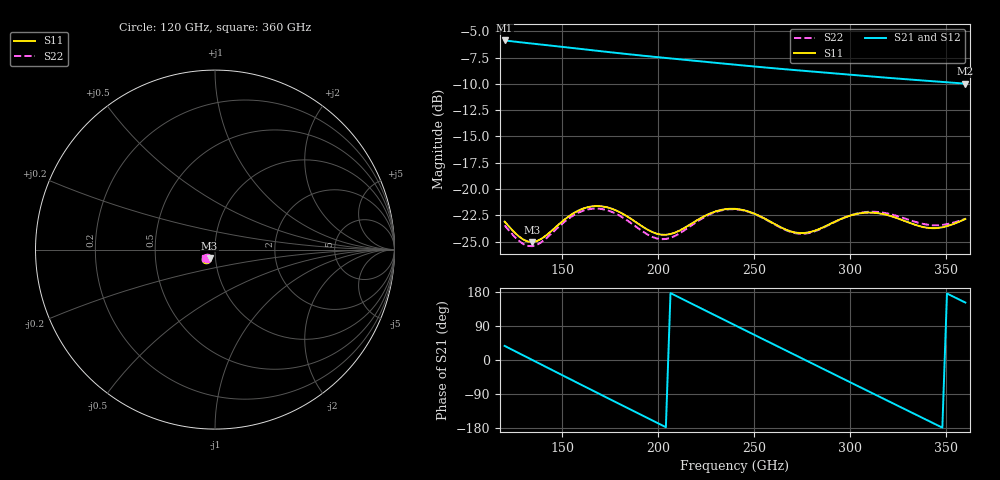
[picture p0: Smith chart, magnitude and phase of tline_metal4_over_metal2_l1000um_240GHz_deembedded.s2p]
! Created with skrf 2.2.0 (http://scikit-rf.org).
# GHz S DB R 50.0
! Port[1] = P1
! Port[2] = P2
!freq dBS11 angS11 dBS21 angS21 dBS12 angS12 dBS22 angS22
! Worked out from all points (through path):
!   101 points, 120 GHz to 360 GHz, reference 50 ohm
!   highest |S21| = -5.86 dB at 120 GHz (marker M1); lowest = -10.0 dB at 360 GHz (marker M2)
!   group delay of S21, straight-line fit = 7 ps
!   lowest |S11| = -25.0 dB at 134.4 GHz (marker M3), VSWR 1.12, Z = 46.9 - j4.43 ohm
!   |S11| at or under -10 dB: start of sweep to end of sweep
!   |S22| runs from -25.4 to -21.9 dB; largest |S21 - S12| = 5.9e-14
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120  -23.10 -133.5  -5.86 37.2  -5.86 37.2  -23.46 -133.2
134.4  -25.04 -122.6  -6.16 0.2  -6.16 0.2  -25.44 -120.9
146.4  -23.66 -113.7  -6.40 -30.7  -6.40 -30.7  -23.90 -111.9
160.8  -21.86 -120.9  -6.69 -67.6  -6.69 -67.6  -22.07 -119.9
170.4  -21.64 -129.6  -6.89 -92.1  -6.89 -92.1  -21.90 -129.0
180  -22.21 -137.1  -7.08 -116.5  -7.08 -116.5  -22.54 -136.6
192  -23.60 -139.7  -7.31 -146.9  -7.31 -146.9  -24.05 -138.6
201.6  -24.34 -134.5  -7.48 -171.3  -7.48 -171.3  -24.78 -132.3
218.4  -23.17 -126.7  -7.78 146.2  -7.78 146.2  -23.33 -124.0
230.4  -22.10 -131.2  -8.00 115.9  -8.00 115.9  -22.16 -129.3
240  -21.89 -137.6  -8.17 91.7  -8.17 91.7  -21.92 -136.2
249.6  -22.31 -143.4  -8.33 67.6  -8.33 67.6  -22.34 -142.4
261.6  -23.42 -145.6  -8.53 37.5  -8.53 37.5  -23.47 -144.9
271.2  -24.13 -141.6  -8.68 13.4  -8.68 13.4  -24.20 -141.0
280.8  -24.01 -135.6  -8.83 -10.6  -8.83 -10.6  -24.07 -135.1
290.4  -23.25 -133.0  -8.97 -34.7  -8.97 -34.7  -23.28 -132.5
302.4  -22.41 -135.9  -9.16 -64.8  -9.16 -64.8  -22.38 -135.5
312  -22.25 -140.4  -9.30 -88.8  -9.30 -88.8  -22.16 -140.1
321.6  -22.60 -144.0  -9.44 -112.7  -9.44 -112.7  -22.42 -144.2
340.8  -23.70 -141.2  -9.71 -160.6  -9.71 -160.6  -23.41 -143.5
350.4  -23.54 -136.3  -9.84 175.5  -9.84 175.5  -23.35 -140.0
360  -22.85 -134.0  -9.97 151.5  -9.97 151.5  -22.83 -138.4
